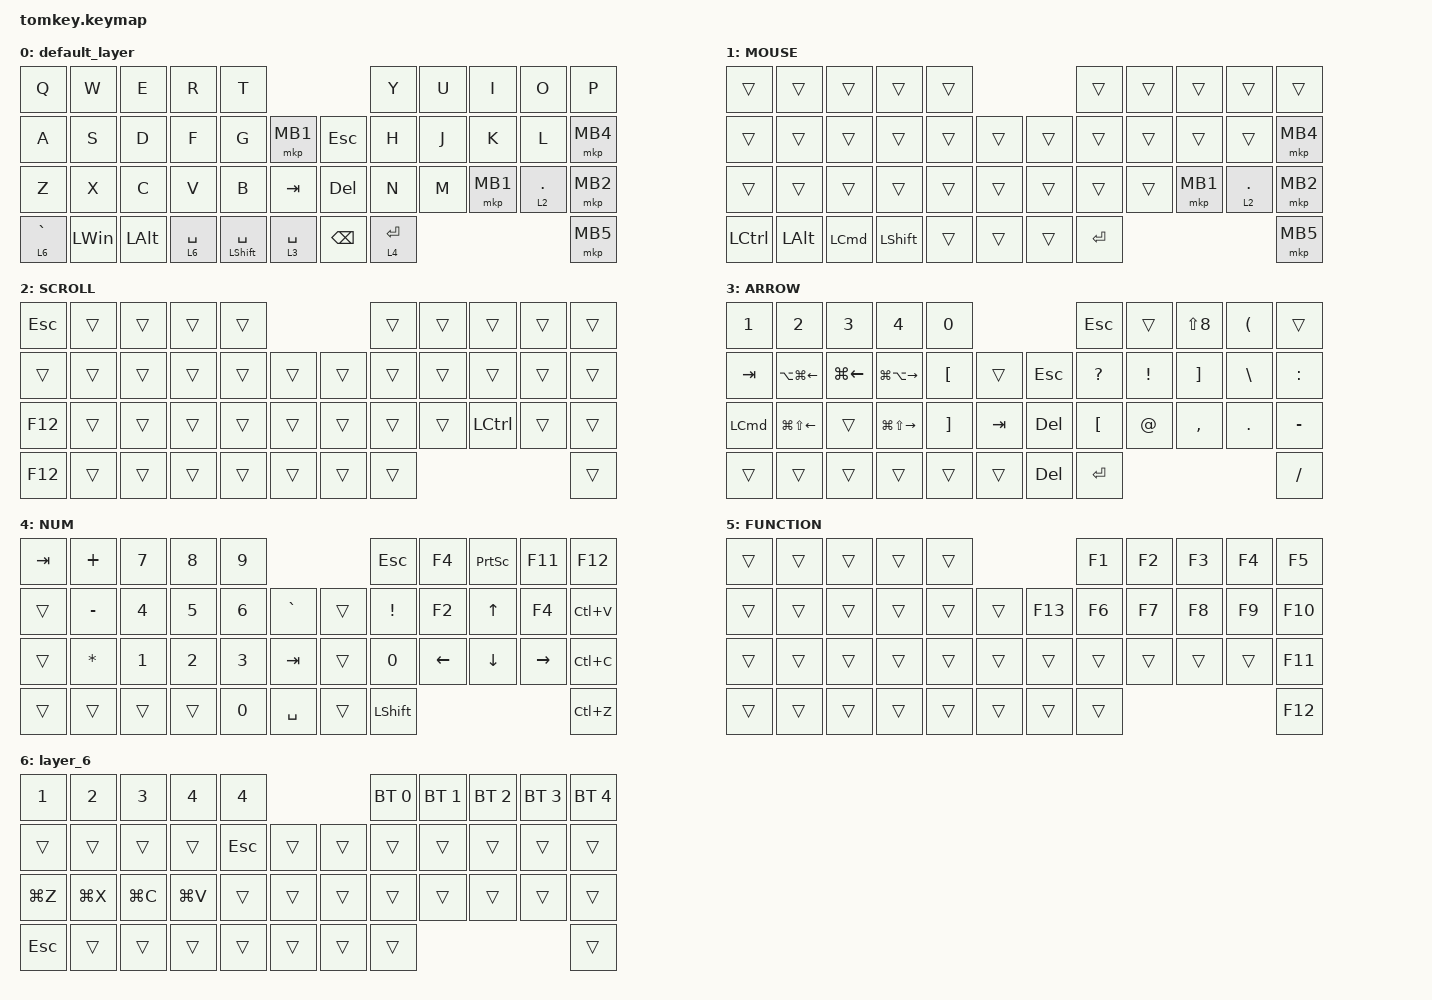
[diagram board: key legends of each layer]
#include <behaviors.dtsi>
#include <dt-bindings/zmk/bt.h>
#include <dt-bindings/zmk/keys.h>
#include <dt-bindings/zmk/pointing.h>

/ {
    keymap {
        compatible = "zmk,keymap";

        default_layer {
            bindings = <
&kp Q        &kp W         &kp E     &kp R        &kp T                                                 &kp Y        &kp U  &kp I     &kp O         &kp P
&kp A        &kp S         &kp D     &kp F        &kp G                 &mkp MB1         &kp ESC        &kp H        &kp J  &kp K     &kp L         &mkp MB4
&kp Z        &kp X         &kp C     &kp V        &kp B                 &kp TAB          &kp DELETE     &kp N        &kp M  &mkp MB1  &lt 2 PERIOD  &mkp MB2
&lt 6 GRAVE  &kp LEFT_WIN  &kp LALT  &lt 6 SPACE  &mt LEFT_SHIFT SPACE  &lt 3 SPACE      &kp BACKSPACE  &lt 4 ENTER                                 &mkp MB5
            >;
        };

        MOUSE {
            bindings = <
&trans     &trans        &trans            &trans          &trans                      &trans     &trans  &trans    &trans        &trans
&trans     &trans        &trans            &trans          &trans  &trans      &trans  &trans     &trans  &trans    &trans        &mkp MB4
&trans     &trans        &trans            &trans          &trans  &trans      &trans  &trans     &trans  &mkp MB1  &lt 2 PERIOD  &mkp MB2
&kp LCTRL  &kp LEFT_ALT  &kp LEFT_COMMAND  &kp LEFT_SHIFT  &trans  &trans      &trans  &kp ENTER                                  &mkp MB5
            >;
        };

        SCROLL {
            bindings = <
&kp ESCAPE  &trans  &trans  &trans  &trans                      &trans  &trans  &trans     &trans  &trans
&trans      &trans  &trans  &trans  &trans  &trans      &trans  &trans  &trans  &trans     &trans  &trans
&kp F12     &trans  &trans  &trans  &trans  &trans      &trans  &trans  &trans  &kp LCTRL  &trans  &trans
&kp F12     &trans  &trans  &trans  &trans  &trans      &trans  &trans                             &trans
            >;
        };

        ARROW {
            bindings = <
&kp NUMBER_1  &kp NUMBER_2            &kp NUMBER_3  &kp NUMBER_4             &kp NUMBER_0                                &kp ESCAPE        &trans           &kp LS(N8)         &kp LEFT_PARENTHESIS  &trans
&kp TAB       &kp LA(LG(LEFT_ARROW))  &kp LG(LEFT)  &kp LG(LA(RIGHT_ARROW))  &kp LEFT_BRACKET   &trans       &kp ESCAPE  &kp QUESTION      &kp EXCLAMATION  &kp RIGHT_BRACKET  &kp BACKSLASH         &kp COLON
&kp LCMD      &kp LG(LS(LEFT_ARROW))  &trans        &kp LG(LS(RIGHT_ARROW))  &kp RIGHT_BRACKET  &kp TAB      &kp DELETE  &kp LEFT_BRACKET  &kp AT_SIGN      &kp COMMA          &kp PERIOD            &kp MINUS
&trans        &trans                  &trans        &trans                   &trans             &trans       &kp DEL     &kp ENTER                                                                   &kp SLASH
            >;
        };

        NUM {
            bindings = <
&kp TAB  &kp PLUS      &kp N7        &kp N8        &kp N9                               &kp ESC          &kp F4          &kp PRINTSCREEN  &kp F11          &kp F12
&trans   &kp MINUS     &kp NUMBER_4  &kp N5        &kp NUMBER_6  &kp GRAVE      &trans  &kp EXCLAMATION  &kp F2          &kp UP_ARROW     &kp F4           &kp LC(V)
&trans   &kp ASTERISK  &kp NUMBER_1  &kp NUMBER_2  &kp NUMBER_3  &kp TAB        &trans  &kp NUMBER_0     &kp LEFT_ARROW  &kp DOWN_ARROW   &kp RIGHT_ARROW  &kp LC(C)
&trans   &trans        &trans        &trans        &kp N0        &kp SPACE      &trans  &kp LEFT_SHIFT                                                     &kp LC(Z)
            >;
        };

        FUNCTION {
            bindings = <
&trans  &trans  &trans  &trans  &trans                       &kp F1  &kp F2  &kp F3  &kp F4  &kp F5
&trans  &trans  &trans  &trans  &trans  &trans      &kp F13  &kp F6  &kp F7  &kp F8  &kp F9  &kp F10
&trans  &trans  &trans  &trans  &trans  &trans      &trans   &trans  &trans  &trans  &trans  &kp F11
&trans  &trans  &trans  &trans  &trans  &trans      &trans   &trans                          &kp F12
            >;
        };

        layer_6 {
            bindings = <
&kp NUMBER_1  &kp NUMBER_2  &kp NUMBER_3  &kp NUMBER_4  &kp NUMBER_4                      &bt BT_SEL 0  &bt BT_SEL 1  &bt BT_SEL 2  &bt BT_SEL 3  &bt BT_SEL 4
&trans        &trans        &trans        &trans        &kp ESCAPE    &trans      &trans  &trans        &trans        &trans        &trans        &trans
&kp LG(Z)     &kp LG(X)     &kp LG(C)     &kp LG(V)     &trans        &trans      &trans  &trans        &trans        &trans        &trans        &trans
&kp ESC       &trans        &trans        &trans        &trans        &trans      &trans  &trans                                                  &trans
            >;
        };
    };
};
